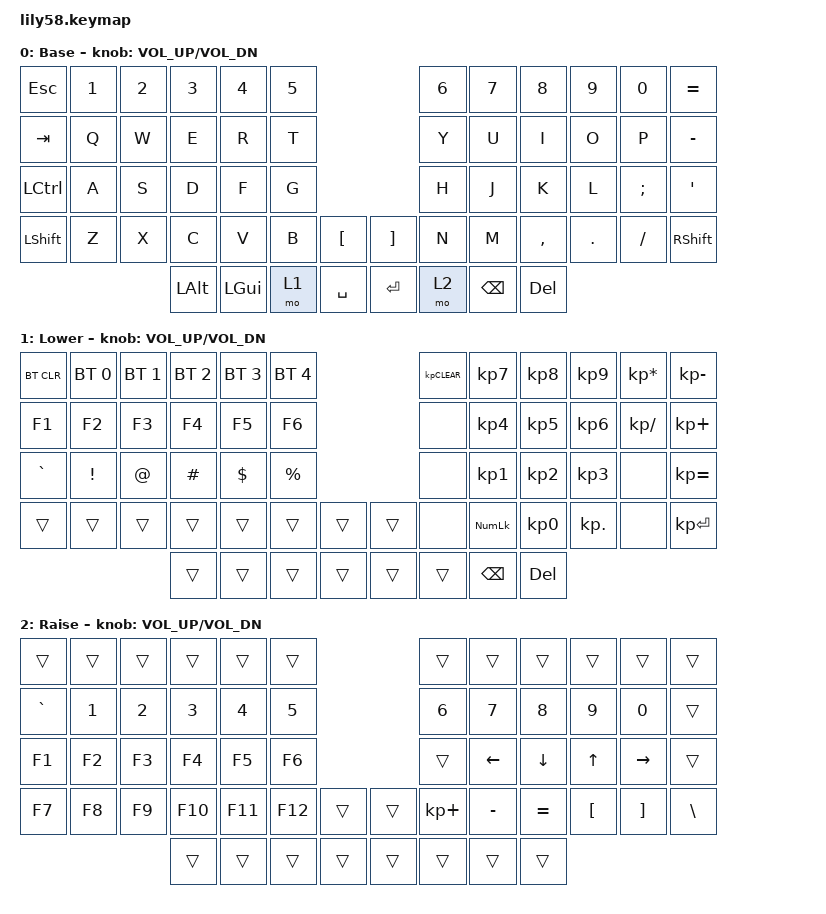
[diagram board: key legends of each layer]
/*
 * Copyright (c) 2020 The ZMK Contributors
 *
 * SPDX-License-Identifier: MIT
 */

#include <behaviors.dtsi>
#include <dt-bindings/zmk/bt.h>
#include <dt-bindings/zmk/keys.h>

/ {
    keymap {
        compatible = "zmk,keymap";

        default_layer {
            // ------------------------------------------------------------------------------------------------------------
            // |  ESC  |  1  |  2  |  3   |  4   |  5   |                   |  6   |  7    |  8    |  9   |   0   |   `   |
            // |  TAB  |  Q  |  W  |  E   |  R   |  T   |                   |  Y   |  U    |  I    |  O   |   P   |   -   |
            // |  CTRL |  A  |  S  |  D   |  F   |  G   |                   |  H   |  J    |  K    |  L   |   ;   |   '   |
            // | SHIFT |  Z  |  X  |  C   |  V   |  B   |   "["  |  |  "]"  |  N   |  M    |  ,    |  .   |   /   | SHIFT |
            //                     | ALT  | GUI  | LOWER|  SPACE |  | ENTER | RAISE| BSPC  | GUI   |

            display-name = "Base";
            bindings = <
&kp ESC    &kp N1  &kp N2  &kp N3    &kp N4    &kp N5                         &kp N6  &kp N7    &kp N8      &kp N9   &kp N0    &kp EQUAL
&kp TAB    &kp Q   &kp W   &kp E     &kp R     &kp T                          &kp Y   &kp U     &kp I       &kp O    &kp P     &kp MINUS
&kp LCTRL  &kp A   &kp S   &kp D     &kp F     &kp G                          &kp H   &kp J     &kp K       &kp L    &kp SEMI  &kp SQT
&kp LSHFT  &kp Z   &kp X   &kp C     &kp V     &kp B   &kp LBKT     &kp RBKT  &kp N   &kp M     &kp COMMA   &kp DOT  &kp FSLH  &kp RSHFT
                           &kp LALT  &kp LGUI  &mo 1   &kp SPACE    &kp RET   &mo 2   &kp BSPC  &kp DELETE
            >;

            sensor-bindings = <&inc_dec_kp C_VOL_UP C_VOL_DN>;
        };

        lower_layer {
            // ------------------------------------------------------------------------------------------------------------
            // | BTCLR | BT1 | BT2 |  BT3 |  BT4 |  BT5 |                   |      |       |       |      |       |       |
            // |  F1   |  F2 |  F3 |  F4  |  F5  |  F6  |                   |  F7  |  F8   |  F9   |  F10 |  F11  |  F12  |
            // |   `   |  !  |  @  |  #   |  $   |  %   |                   |  ^   |  &    |  *    |  (   |   )   |   ~   |
            // |       |     |     |      |      |      |        |  |       |      |  _    |  +    |  {   |   }   |  "|"  |
            //                     |      |      |      |        |  |       |      |       |       |

            display-name = "Lower";
            bindings = <
&bt BT_CLR  &bt BT_SEL 0  &bt BT_SEL 1  &bt BT_SEL 2  &bt BT_SEL 3  &bt BT_SEL 4                    &kp KP_CLEAR  &kp KP_NUMBER_7  &kp KP_NUMBER_8  &kp KP_NUMBER_9  &kp KP_MULTIPLY  &kp KP_MINUS
&kp F1      &kp F2        &kp F3        &kp F4        &kp F5        &kp F6                          &none         &kp KP_NUMBER_4  &kp KP_NUMBER_5  &kp KP_NUMBER_6  &kp KP_DIVIDE    &kp KP_PLUS
&kp GRAVE   &kp EXCL      &kp AT        &kp HASH      &kp DOLLAR    &kp PRCNT                       &none         &kp KP_N1        &kp KP_N2        &kp KP_N3        &none            &kp KP_EQUAL
&trans      &trans        &trans        &trans        &trans        &trans        &trans    &trans  &none         &kp KP_NUMLOCK   &kp KP_N0        &kp KP_DOT       &none            &kp KP_ENTER
                                        &trans        &trans        &trans        &trans    &trans  &trans        &kp BACKSPACE    &kp DEL
            >;

            sensor-bindings = <&inc_dec_kp C_VOL_UP C_VOL_DN>;
        };

        raise_layer {
            // ------------------------------------------------------------------------------------------------------------
            // |       |     |     |      |      |      |                   |      |       |       |      |       |       |
            // |   `   |  1  |  2  |  3   |  4   |  5   |                   |  6   |   7   |   8   |  9   |   0   |       |
            // |   F1  |  F2 |  F3 |  F4  |  F5  |  F6  |                   |      |   <-  |   v   |  ^   |  ->   |       |
            // |   F7  |  F8 |  F9 |  F10 |  F11 |  F12 |        |  |       |  +   |   -   |   =   |  [   |   ]   |   \   |
            //                     |      |      |      |        |  |       |      |       |       |

            display-name = "Raise";
            bindings = <
&trans     &trans  &trans  &trans   &trans   &trans                     &trans       &trans     &trans     &trans    &trans     &trans
&kp GRAVE  &kp N1  &kp N2  &kp N3   &kp N4   &kp N5                     &kp N6       &kp N7     &kp N8     &kp N9    &kp N0     &trans
&kp F1     &kp F2  &kp F3  &kp F4   &kp F5   &kp F6                     &trans       &kp LEFT   &kp DOWN   &kp UP    &kp RIGHT  &trans
&kp F7     &kp F8  &kp F9  &kp F10  &kp F11  &kp F12  &trans    &trans  &kp KP_PLUS  &kp MINUS  &kp EQUAL  &kp LBKT  &kp RBKT   &kp BSLH
                           &trans   &trans   &trans   &trans    &trans  &trans       &trans     &trans
            >;

            sensor-bindings = <&inc_dec_kp C_VOL_UP C_VOL_DN>;
        };
    };
};
